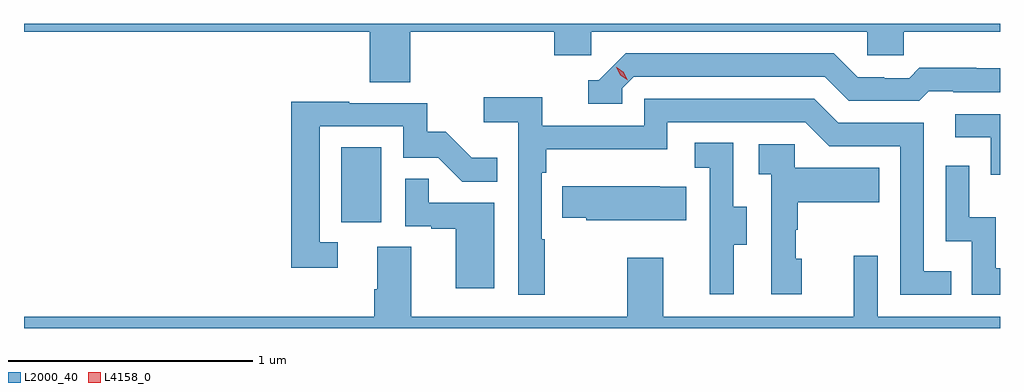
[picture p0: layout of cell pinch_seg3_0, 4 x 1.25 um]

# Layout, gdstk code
import gdstk
lib = gdstk.Library(unit=1e-6, precision=1e-09)
def R(c, l, rs):  # rectangles x0, y0, x1, y1
    for r in rs: c.add(gdstk.rectangle(r[:2], r[2:], *l))
def P(c, l, *ps):  # polygons
    for p in ps: c.add(gdstk.Polygon(p, *l))
L2000_40 = (2000, 40)
L4158_0 = (4158, 0)

pinch_seg3_0 = lib.new_cell('pinch_seg3_0')
R(pinch_seg3_0, L2000_40, [(1141.898,748.086,1142.062,748.393)])
P(pinch_seg3_0, L2000_40, [(1142.18,748.868),(1142.771,748.868),(1142.771,748.77),(1142.922,748.77),(1142.922,748.868),(1144.053,748.868),(1144.053,748.77),(1144.203,748.77),(1144.203,748.868),(1144.597,748.868),(1144.597,748.9),(1140.597,748.9),(1140.597,748.868),(1142.015,748.868),(1142.015,748.66),(1142.18,748.66)],
  [(1143.048,748.635),(1143.096,748.683),(1143.879,748.683),(1143.978,748.584),(1144.267,748.584),(1144.306,748.623),(1144.405,748.623),(1144.405,748.62),(1144.597,748.62),(1144.597,748.717),(1144.5,748.717),(1144.5,748.72),(1144.267,748.72),(1144.225,748.677),(1144.122,748.677),(1144.122,748.68),(1144.015,748.68),(1143.916,748.779),(1143.063,748.779),(1142.952,748.668),(1142.909,748.668),(1142.909,748.572),(1143.048,748.572)],
  [(1142.731,748.016),(1142.718,748.016),(1142.718,748.289),(1142.738,748.289),(1142.738,748.385),(1143.234,748.385),(1143.234,748.497),(1143.798,748.497),(1143.897,748.398),(1144.188,748.398),(1144.188,747.789),(1144.397,747.789),(1144.397,747.885),(1144.284,747.885),(1144.284,748.494),(1143.934,748.494),(1143.835,748.593),(1143.138,748.593),(1143.138,748.482),(1142.72,748.482),(1142.72,748.598),(1142.481,748.598),(1142.481,748.496),(1142.622,748.496),(1142.622,747.789),(1142.731,747.789)],
  [(1141.882,748.005),(1141.809,748.005),(1141.809,748.479),(1142.151,748.479),(1142.151,748.35),(1142.295,748.35),(1142.393,748.252),(1142.537,748.252),(1142.537,748.351),(1142.433,748.351),(1142.326,748.458),(1142.25,748.458),(1142.25,748.575),(1141.931,748.575),(1141.931,748.58),(1141.693,748.58),(1141.693,747.9),(1141.882,747.9)],
  [(1144.597,748.53),(1144.413,748.53),(1144.413,748.434),(1144.56,748.434),(1144.56,748.281),(1144.597,748.281)],
  [(1143.505,747.994),(1143.559,747.994),(1143.559,748.149),(1143.504,748.149),(1143.504,748.412),(1143.345,748.412),(1143.345,748.309),(1143.408,748.309),(1143.408,748.005),(1143.407,748.005),(1143.407,747.792),(1143.505,747.792)],
  [(1143.784,747.936),(1143.759,747.936),(1143.759,748.055),(1143.769,748.055),(1143.769,748.169),(1144.103,748.169),(1144.103,748.309),(1143.756,748.309),(1143.756,748.407),(1143.609,748.407),(1143.609,748.283),(1143.66,748.283),(1143.66,747.792),(1143.784,747.792)],
  [(1144.597,747.898),(1144.58,747.898),(1144.58,748.106),(1144.47,748.106),(1144.47,748.318),(1144.374,748.318),(1144.374,748.008),(1144.482,748.008),(1144.482,747.789),(1144.597,747.789)],
  [(1142.524,748.167),(1142.255,748.167),(1142.255,748.265),(1142.16,748.265),(1142.16,748.071),(1142.267,748.071),(1142.267,748.059),(1142.366,748.059),(1142.366,747.816),(1142.524,747.816)],
  [(1143.311,748.231),(1143.203,748.231),(1143.203,748.234),(1142.803,748.234),(1142.803,748.105),(1142.901,748.105),(1142.901,748.094),(1143.311,748.094)],
  [(1144.597,747.7),(1144.095,747.7),(1144.095,747.949),(1143.998,747.949),(1143.998,747.7),(1143.217,747.7),(1143.217,747.94),(1143.07,747.94),(1143.07,747.7),(1142.185,747.7),(1142.185,747.986),(1142.045,747.986),(1142.045,747.812),(1142.033,747.812),(1142.033,747.7),(1140.597,747.7),(1140.597,747.652),(1144.597,747.652)])
P(pinch_seg3_0, L4158_0, [(1143.071,748.669),(1143.041,748.688),(1143.025,748.721),(1143.025,748.721),(1143.026,748.721),(1143.056,748.702),(1143.071,748.669),(1143.071,748.669)])

lib.write_gds('pinch_seg3_0.gds')
